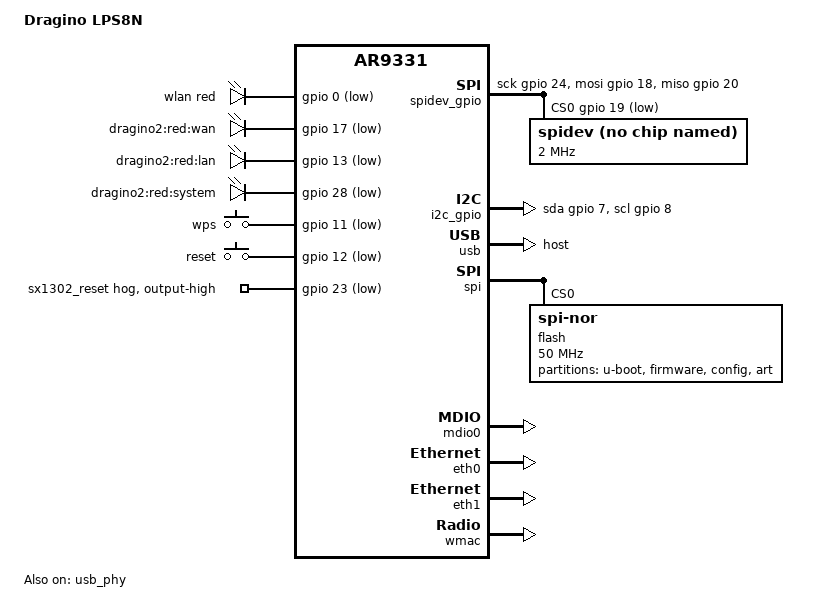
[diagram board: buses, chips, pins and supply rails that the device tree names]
// SPDX-License-Identifier: GPL-2.0-or-later OR MIT

#include "ar9331.dtsi"

#include <dt-bindings/gpio/gpio.h>
#include <dt-bindings/input/input.h>
#include <dt-bindings/leds/common.h>

/ {
    model = "Dragino LPS8N";
    compatible = "dragino,lps8n", "qca,ar9331";

    aliases {
        label-mac-device = &wmac;
        spi1 = &spidev_gpio;
    };

    leds {
        compatible = "gpio-leds";

        wlan {
            function = LED_FUNCTION_WLAN;
            color = <LED_COLOR_ID_RED>;
            gpios = <&gpio 0 GPIO_ACTIVE_LOW>;
            linux,default-trigger = "phy0tpt";
        };

        wan {
            label = "dragino2:red:wan";
            gpios = <&gpio 17 GPIO_ACTIVE_LOW>;
        };

        lan {
            label = "dragino2:red:lan";
            gpios = <&gpio 13 GPIO_ACTIVE_LOW>;
        };

        system {
            label = "dragino2:red:system";
            gpios = <&gpio 28 GPIO_ACTIVE_LOW>;
        };
    };

    keys {
        compatible = "gpio-keys";

        wps {
            label = "wps";
            linux,code = <KEY_WPS_BUTTON>;
            gpios = <&gpio 11 GPIO_ACTIVE_LOW>;
            debounce-interval = <60>;
        };

        reset {
            label = "reset";
            linux,code = <KEY_RESTART>;
            gpios = <&gpio 12 GPIO_ACTIVE_LOW>;
            debounce-interval = <60>;
        };
    };

    /* Software SPI for SX1302 + SX1250 (GPIO18 MOSI, GPIO20 MISO, GPIO24 SCK, GPIO19 CSN)*/
    spidev_gpio: spi-gpio {
        compatible = "spi-gpio";
        #address-cells = <1>;
        #size-cells = <0>;
        status = "okay";

        sck-gpios = <&gpio 24 GPIO_ACTIVE_HIGH>;
        mosi-gpios = <&gpio 18 GPIO_ACTIVE_HIGH>;
        miso-gpios = <&gpio 20 GPIO_ACTIVE_HIGH>;
        cs-gpios = <&gpio 19 GPIO_ACTIVE_LOW>;

        spidev@0 {
            compatible = "spidev";
            status = "okay";
            reg = <0>;
            spi-max-frequency = <2000000>;
        };
    };

    /* Bit-banged I2C on GPIO7 (SDA) and GPIO8 (SCL) */
    i2c_gpio: i2c-gpio {
        compatible = "i2c-gpio";
        #address-cells = <1>;
        #size-cells = <0>;
        status = "okay";

        sda-gpios = <&gpio 7 GPIO_ACTIVE_HIGH>;
        scl-gpios = <&gpio 8 GPIO_ACTIVE_HIGH>;
        i2c-gpio,delay-us = <5>;
    };
};

&ref {
    clock-frequency = <40000000>;
};

&gpio {
    sx1302_reset {
        gpio-hog;
        gpios = <23 GPIO_ACTIVE_LOW>;
        output-high; /* deassert reset by default */
        line-name = "sx1302_reset";
    };
};

&usb {
    dr_mode = "host";
    status = "okay";
};

&usb_phy {
    status = "okay";
};

&spi {
    status = "okay";

    flash@0 {
        compatible = "jedec,spi-nor";
        spi-max-frequency = <50000000>;
        reg = <0>;

        partitions {
            compatible = "fixed-partitions";
            #address-cells = <1>;
            #size-cells = <1>;

            uboot: partition@0 {
                label = "u-boot";
                reg = <0x000000 0x040000>; // 256k
                read-only;
            };

            firmware: partition@40000 {
                compatible = "denx,uimage";
                label = "firmware";
                reg = <0x040000 0xFA0000>; // 16000k
            };

            config: partition@fe0000 {
                label = "config";
                reg = <0xFE0000 0x010000>; // 64k
            };

            art: partition@ff0000 {
                label = "art";
                reg = <0xFF0000 0x010000>; // 64k
                read-only;

                nvmem-layout {
                    compatible = "fixed-layout";
                    #address-cells = <1>;
                    #size-cells = <1>;

                    macaddr_art_0: macaddr@0 {
                        reg = <0x0 0x6>;
                    };

                    macaddr_art_6: macaddr@6 {
                        reg = <0x6 0x6>;
                    };

                    cal_art_1000: calibration@1000 {
                        reg = <0x1000 0x440>;
                    };
                };
            };
        };
    };
};

&mdio0 {
    status = "okay";
};

&eth0 {
    status = "okay";

    nvmem-cells = <&macaddr_art_0>;
    nvmem-cell-names = "mac-address";

    gmac-config {
        device = <&gmac>;
        switch-phy-addr-swap = <1>;
        switch-phy-swap = <1>;
    };
};

&eth1 {
    status = "okay";

    nvmem-cells = <&macaddr_art_6>;
    nvmem-cell-names = "mac-address";
};

&wmac {
    status = "okay";

    nvmem-cells = <&macaddr_art_6>, <&cal_art_1000>;
    nvmem-cell-names = "mac-address", "calibration";
};


